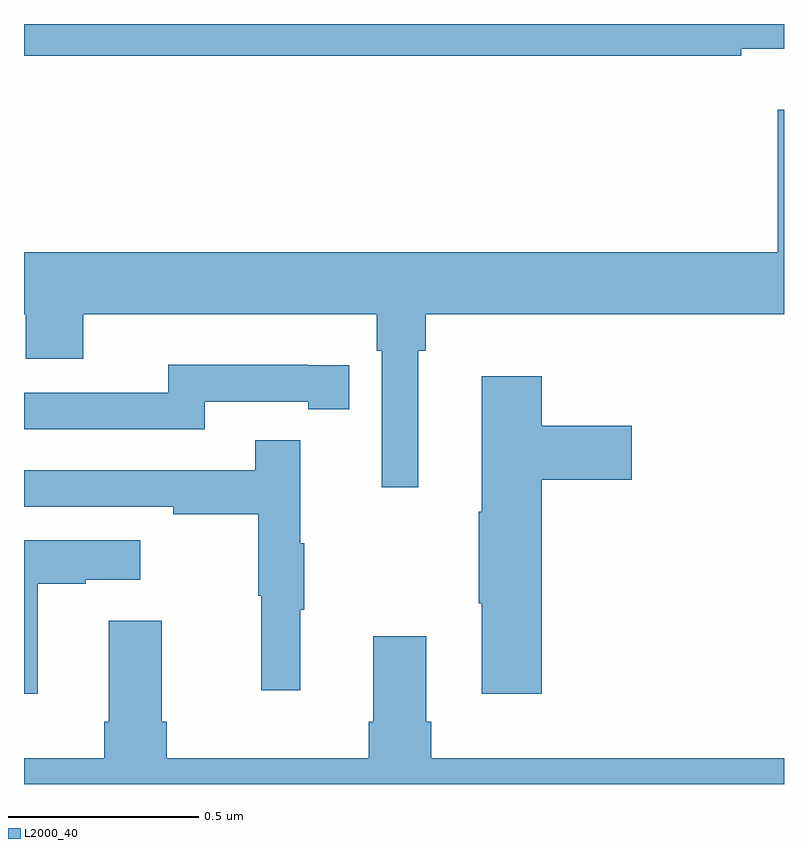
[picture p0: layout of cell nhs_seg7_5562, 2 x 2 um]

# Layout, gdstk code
import gdstk
lib = gdstk.Library(unit=1e-6, precision=1e-09)
def P(c, l, *ps):  # polygons
    for p in ps: c.add(gdstk.Polygon(p, *l))
L2000_40 = (2000, 40)

nhs_seg7_5562 = lib.new_cell('nhs_seg7_5562')
P(nhs_seg7_5562, L2000_40, [(188.888,1047.935),(189,1047.935),(189,1048),(187,1048),(187,1047.916),(188.888,1047.916)],
  [(187,1047.236),(187.004,1047.236),(187.004,1047.119),(187.156,1047.119),(187.156,1047.236),(187.928,1047.236),(187.928,1047.14),(187.941,1047.14),(187.941,1046.781),(188.038,1046.781),(188.038,1047.14),(188.057,1047.14),(188.057,1047.236),(189,1047.236),(189,1047.775),(188.984,1047.775),(188.984,1047.4),(187,1047.4)],
  [(187.476,1047.006),(187.748,1047.006),(187.748,1046.986),(187.856,1046.986),(187.856,1047.102),(187.748,1047.102),(187.748,1047.103),(187.38,1047.103),(187.38,1047.03),(187,1047.03),(187,1046.934),(187.476,1046.934)],
  [(188.363,1046.801),(188.599,1046.801),(188.599,1046.943),(188.363,1046.943),(188.363,1047.073),(188.204,1047.073),(188.204,1046.717),(188.197,1046.717),(188.197,1046.476),(188.204,1046.476),(188.204,1046.238),(188.363,1046.238)],
  [(187.727,1046.459),(187.738,1046.459),(187.738,1046.633),(187.727,1046.633),(187.727,1046.905),(187.609,1046.905),(187.609,1046.826),(187,1046.826),(187,1046.73),(187.393,1046.73),(187.393,1046.71),(187.617,1046.71),(187.617,1046.496),(187.624,1046.496),(187.624,1046.247),(187.727,1046.247)],
  [(187.036,1046.527),(187.163,1046.527),(187.163,1046.537),(187.306,1046.537),(187.306,1046.641),(187,1046.641),(187,1046.238),(187.036,1046.238)],
  [(189,1046.068),(188.072,1046.068),(188.072,1046.164),(188.059,1046.164),(188.059,1046.389),(187.919,1046.389),(187.919,1046.164),(187.907,1046.164),(187.907,1046.068),(187.376,1046.068),(187.376,1046.164),(187.363,1046.164),(187.363,1046.43),(187.223,1046.43),(187.223,1046.164),(187.211,1046.164),(187.211,1046.068),(187,1046.068),(187,1046),(189,1046)])

lib.write_gds('nhs_seg7_5562.gds')
